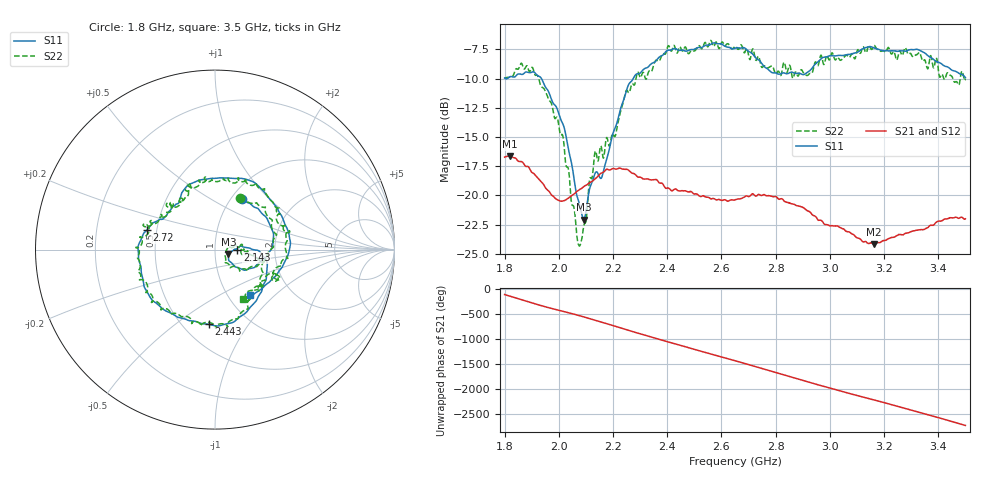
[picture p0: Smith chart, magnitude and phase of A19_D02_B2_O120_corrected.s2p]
! Created with skrf 1.9.0 (http://scikit-rf.org).
# Hz S RI R 50.0
!freq ReS11 ImS11 ReS21 ImS21 ReS12 ImS12 ReS22 ImS22
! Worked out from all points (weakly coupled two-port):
!   1601 points, 1.8 GHz to 3.5 GHz, reference 50 ohm
!   highest |S21| = -16.64 dB at 1.819 GHz (marker M1); lowest = -24.2 dB at 3.163 GHz (marker M2)
!   lowest |S11| = -22.1 dB at 2.092 GHz (marker M3), VSWR 1.17, Z = 58 - j2.91 ohm
!   |S11| at or under -10 dB: 1.803306 GHz to 1.80952 GHz (6.215 MHz wide, 0.344 % of centre); 1.936 GHz to 2.274 GHz (338.4 MHz wide, 16.1 % of centre)
!   |S22| runs from -24.4 to -6.7 dB; largest |S21 - S12| = 0.0025
!   S11 on the Smith chart (normalised r, x): 1.8 GHz: 1.12, +0.70; 2.143 GHz: 1.29, -0.00; 2.443 GHz: 0.66, -0.67; 2.72 GHz: 0.44, +0.11; 3.5 GHz: 1.26, -0.71
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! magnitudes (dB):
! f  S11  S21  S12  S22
! 1.8 GHz  -9.9  -16.7  -16.7  -9.9
! 1.819 GHz  -9.8  -16.6  -16.7  -9.9
! 1.902 GHz  -9.4  -18.1  -18.0  -9.0
! 1.968 GHz  -11.5  -19.8  -19.8  -12.0
! 2.02 GHz  -14.2  -20.5  -20.5  -15.9
! 2.07 GHz  -20.3  -19.6  -19.6  -24.0
! 2.084 GHz  -21.5  -19.4  -19.4  -23.8
! 2.092 GHz  -22.1  -19.2  -19.3  -22.6
! 2.117 GHz  -19.2  -18.9  -18.9  -18.5
! 2.143 GHz  -18.1  -18.4  -18.4  -17.0
! 2.161 GHz  -18.3  -18.1  -18.0  -16.5
! 2.208 GHz  -14.2  -17.7  -17.7  -14.9
! 2.258 GHz  -10.5  -17.9  -17.8  -11.2
! 2.367 GHz  -8.2  -18.8  -18.8  -8.5
! 2.443 GHz  -7.6  -19.6  -19.6  -7.4
! 2.65 GHz  -7.4  -20.4  -20.4  -7.2
! 2.72 GHz  -8.0  -19.9  -19.9  -7.8
! 2.808 GHz  -9.6  -20.3  -20.2  -9.4
! 2.934 GHz  -9.1  -21.6  -21.6  -9.5
! 3.163 GHz  -7.4  -24.2  -24.1  -7.2
! 3.217 GHz  -7.6  -23.7  -23.7  -7.4
! 3.5 GHz  -9.9  -22.0  -22.0  -10.0
